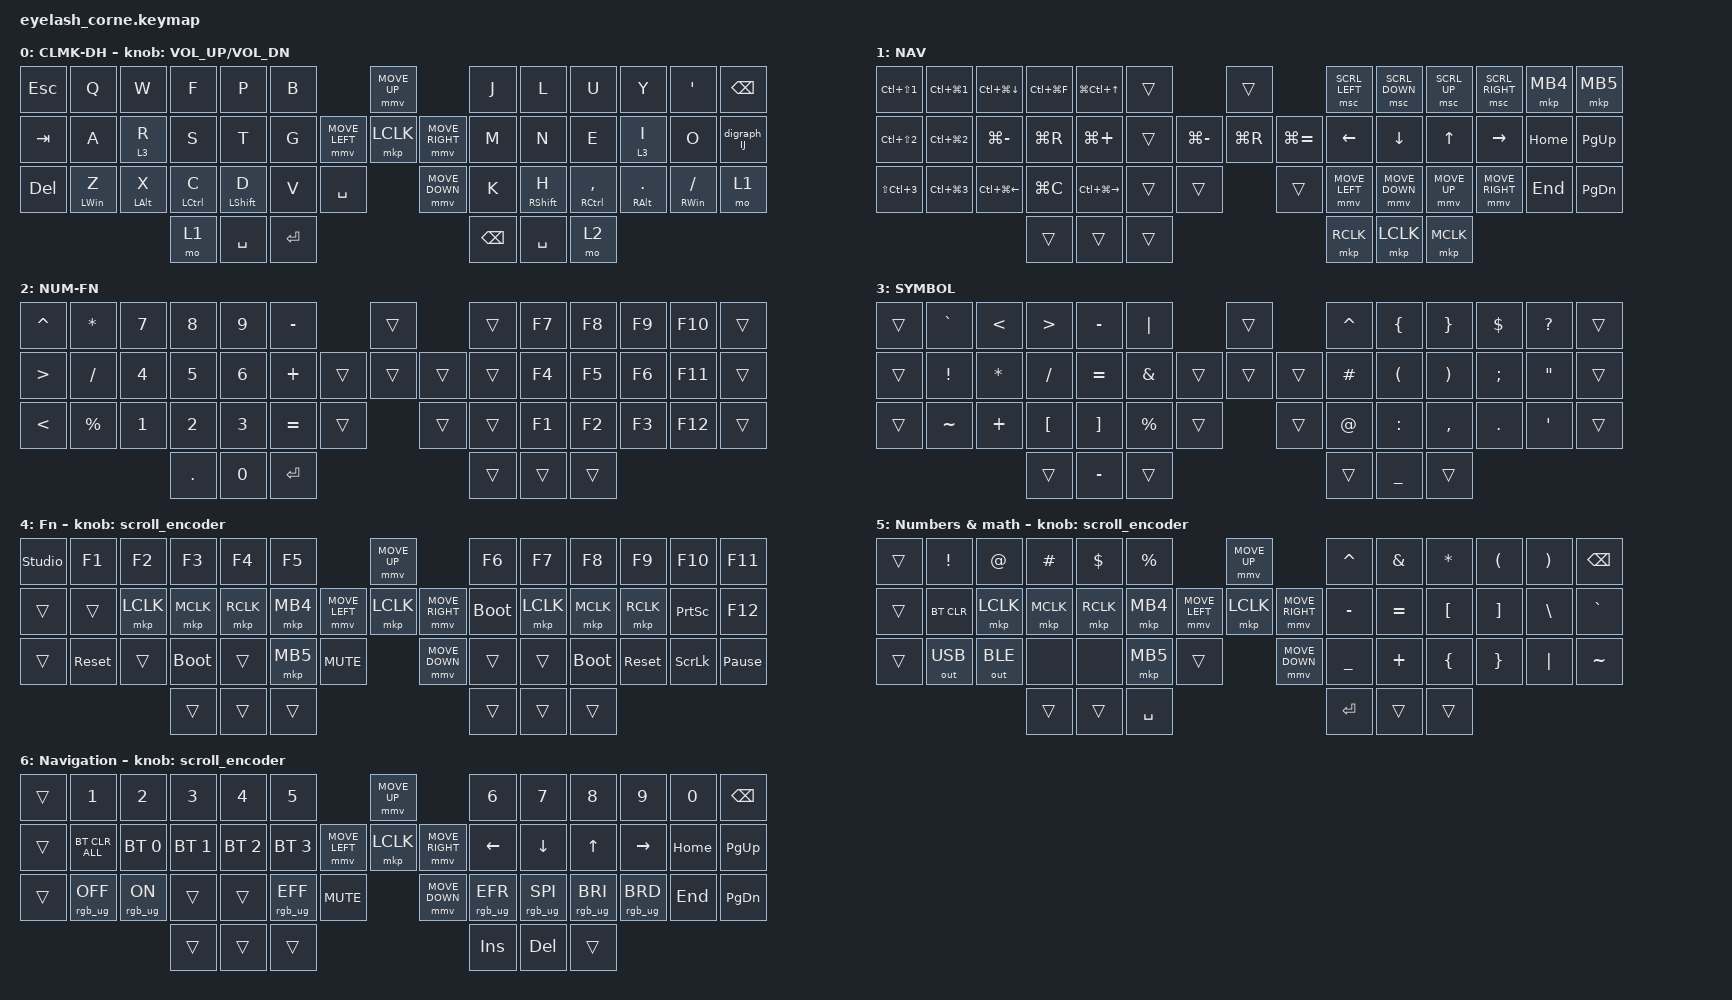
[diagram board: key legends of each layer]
#define ZMK_POINTING_DEFAULT_MOVE_VAL 1200  // 600
#define ZMK_POINTING_DEFAULT_SCRL_VAL 25   // 10

#include <input/processors.dtsi>
#include <zephyr/dt-bindings/input/input-event-codes.h>
#include <behaviors.dtsi>
#include <dt-bindings/zmk/bt.h>
#include <dt-bindings/zmk/keys.h>
#include <dt-bindings/zmk/outputs.h>
#include <dt-bindings/zmk/pointing.h>
#include <dt-bindings/zmk/rgb.h>

&mmv_input_listener { input-processors = <&zip_xy_scaler 2 1>; };

&msc_input_listener { input-processors = <&zip_scroll_scaler 2 1>; };

&msc {
    acceleration-exponent = <1>;      // 0
    time-to-max-speed-ms = <100>;       // 300
    delay-ms = <0>;                   // 0
};

&mmv {
    time-to-max-speed-ms = <500>;
    acceleration-exponent = <1>;
    trigger-period-ms = <16>;
};

&soft_off { hold-time-ms = <2000>; };

/ {
    behaviors {
        td0: td0 {
            compatible = "zmk,behavior-tap-dance";
            display-name = "Shift/Caps Lock Tap Dance";
            #binding-cells = <0>;
            bindings = <&kp LEFT_SHIFT>, <&kp CAPS>;
        };
    };

    rgb_encoder: rgb_encoder {
        compatible = "zmk,behavior-sensor-rotate";
        #sensor-binding-cells = <0>;
        bindings = <&rgb_ug RGB_BRI>, <&rgb_ug RGB_BRD>;
    };

    scroll_encoder: scroll_encoder {
        compatible = "zmk,behavior-sensor-rotate";
        #sensor-binding-cells = <0>;
        bindings = <&msc SCRL_DOWN>, <&msc SCRL_UP>;

        tap-ms = <100>;
    };

    combos {
        compatible = "zmk,combos";

        softoff {
            bindings = <&soft_off>;
            key-positions = <1 15 29>;
        };
    };

    macros {
        digraph_IJ: digraph_IJ {
            compatible = "zmk,behavior-macro";
            #binding-cells = <0>;
            bindings = <&kp I &kp J>;
            label = "DIGRAPH_IJ";
        };
    };

    keymap {
        compatible = "zmk,keymap";

        base {
            display-name = "CLMK-DH";
            bindings = <
&kp ESCAPE  &kp Q       &kp W           &kp F        &kp P             &kp B                                    &mmv MOVE_UP                     &kp J          &kp L        &kp U            &kp Y              &kp SINGLE_QUOTE  &kp BSPC
&kp TAB     &kp A       &lt 3 R         &kp S        &kp T             &kp G                    &mmv MOVE_LEFT  &mkp LCLK       &mmv MOVE_RIGHT  &kp M          &kp N        &kp E            &lt 3 I            &kp O             &digraph_IJ
&kp DEL     &mt LWIN Z  &mt LEFT_ALT X  &mt LCTRL C  &mt LEFT_SHIFT D  &kp V       &kp SPACE                    &mmv MOVE_DOWN                   &kp K          &mt RSHFT H  &mt RCTRL COMMA  &mt RIGHT_ALT DOT  &mt RWIN FSLH     &mo 1
                                        &mo 1        &kp SPACE         &kp RETURN                                                                &kp BACKSPACE  &kp SPACE    &mo 2
            >;

            sensor-bindings = <&inc_dec_kp C_VOLUME_UP C_VOL_DN>;
        };

        nav-niri {
            bindings = <
&kp LC(LS(NUMBER_1))  &kp LC(LG(NUMBER_1))  &kp LC(LG(DOWN))  &kp LC(LG(F))  &kp LG(LC(UP_ARROW))  &trans                           &trans                    &msc SCRL_LEFT  &msc SCRL_DOWN  &msc SCRL_UP  &msc SCRL_RIGHT  &mkp MB4  &mkp MB5
&kp LC(LS(NUMBER_2))  &kp LC(LG(NUMBER_2))  &kp LG(MINUS)     &kp LG(R)      &kp LG(PLUS)          &trans            &kp LG(MINUS)  &kp LG(R)  &kp LG(EQUAL)  &kp LEFT        &kp DOWN        &kp UP_ARROW  &kp RIGHT        &kp HOME  &kp PAGE_UP
&kp LS(LC(NUMBER_3))  &kp LC(LG(NUMBER_3))  &kp LC(LG(LEFT))  &kp LG(C)      &kp LC(LG(RIGHT))     &trans  &trans                   &trans                    &mmv MOVE_LEFT  &mmv MOVE_DOWN  &mmv MOVE_UP  &mmv MOVE_RIGHT  &kp END   &kp PAGE_DOWN
                                                              &trans         &trans                &trans                                                     &mkp RCLK       &mkp LCLK       &mkp MCLK
            >;

            label = "NAV";
        };

        num-fn {
            bindings = <
&kp CARET         &kp STAR     &kp N7        &kp N8        &kp N9        &kp MINUS                    &trans          &trans  &kp F7  &kp F8  &kp F9  &kp F10  &trans
&kp GREATER_THAN  &kp SLASH    &kp NUMBER_4  &kp N5        &kp N6        &kp PLUS             &trans  &trans  &trans  &trans  &kp F4  &kp F5  &kp F6  &kp F11  &trans
&kp LESS_THAN     &kp PERCENT  &kp NUMBER_1  &kp NUMBER_2  &kp NUMBER_3  &kp EQUAL  &trans            &trans          &trans  &kp F1  &kp F2  &kp F3  &kp F12  &trans
                                             &kp DOT       &kp N0        &kp ENTER                                    &trans  &trans  &trans
            >;

            label = "NUM-FN";
        };

        symb {
            bindings = <
&trans  &kp GRAVE  &kp LESS_THAN  &kp GREATER_THAN  &kp MINUS          &kp PIPE                         &trans          &kp CARET  &kp LEFT_BRACE        &kp RIGHT_BRACE        &kp DOLLAR  &kp QUESTION       &trans
&trans  &kp EXCL   &kp STAR       &kp SLASH         &kp EQUAL          &kp AMPERSAND            &trans  &trans  &trans  &kp HASH   &kp LEFT_PARENTHESIS  &kp RIGHT_PARENTHESIS  &kp SEMI    &kp DOUBLE_QUOTES  &trans
&trans  &kp TILDE  &kp PLUS       &kp LEFT_BRACKET  &kp RIGHT_BRACKET  &kp PERCENT    &trans            &trans          &kp AT     &kp COLON             &kp COMMA              &kp DOT     &kp SINGLE_QUOTE   &trans
                                  &trans            &kp MINUS          &trans                                           &trans     &kp UNDER             &trans
            >;

            label = "SYMBOL";
        };

        def_fn {
            display-name = "Fn";
            bindings = <
&studio_unlock  &kp F1      &kp F2     &kp F3       &kp F4     &kp F5                                  &mmv MOVE_UP                     &kp F6       &kp F7     &kp F8       &kp F9      &kp F10          &kp F11
&trans          &trans      &mkp LCLK  &mkp MCLK    &mkp RCLK  &mkp MB4                &mmv MOVE_LEFT  &mkp LCLK       &mmv MOVE_RIGHT  &bootloader  &mkp LCLK  &mkp MCLK    &mkp RCLK   &kp PRINTSCREEN  &kp F12
&trans          &sys_reset  &trans     &bootloader  &trans     &mkp MB5  &kp C_MUTE                    &mmv MOVE_DOWN                   &trans       &trans     &bootloader  &sys_reset  &kp SCROLLLOCK   &kp PAUSE_BREAK
                                       &trans       &trans     &trans                                                                   &trans       &trans     &trans
            >;

            sensor-bindings = <&scroll_encoder>;
        };

        def_symb_mouse {
            display-name = "Numbers & math";
            bindings = <
&trans  &kp EXCL      &kp AT        &kp HASH   &kp DLLR   &kp PRCNT                            &mmv MOVE_UP                     &kp CARET  &kp AMPS   &kp ASTRK  &kp LPAR  &kp RPAR  &kp BSPC
&trans  &bt BT_CLR    &mkp LCLK     &mkp MCLK  &mkp RCLK  &mkp MB4             &mmv MOVE_LEFT  &mkp LCLK       &mmv MOVE_RIGHT  &kp MINUS  &kp EQUAL  &kp LBKT   &kp RBKT  &kp BSLH  &kp GRAVE
&trans  &out OUT_USB  &out OUT_BLE  &none      &none      &mkp MB5   &trans                    &mmv MOVE_DOWN                   &kp UNDER  &kp PLUS   &kp LBRC   &kp RBRC  &kp PIPE  &kp TILDE
                                    &trans     &trans     &kp SPACE                                                             &kp RET    &trans     &trans
            >;

            sensor-bindings = <&scroll_encoder>;
        };

        def_num_nav {
            display-name = "Navigation";
            bindings = <
&trans  &kp N1           &kp N2          &kp N3        &kp N4        &kp N5                                         &mmv MOVE_UP                     &kp N6           &kp N7           &kp N8           &kp N9           &kp N0    &kp BSPC
&trans  &bt BT_CLR_ALL   &bt BT_SEL 0    &bt BT_SEL 1  &bt BT_SEL 2  &bt BT_SEL 3                   &mmv MOVE_LEFT  &mkp LCLK       &mmv MOVE_RIGHT  &kp LEFT         &kp DOWN         &kp UP           &kp RIGHT        &kp HOME  &kp PG_UP
&trans  &rgb_ug RGB_OFF  &rgb_ug RGB_ON  &trans        &trans        &rgb_ug RGB_EFF  &kp C_MUTE                    &mmv MOVE_DOWN                   &rgb_ug RGB_EFR  &rgb_ug RGB_SPI  &rgb_ug RGB_BRI  &rgb_ug RGB_BRD  &kp END   &kp PG_DN
                                         &trans        &trans        &trans                                                                          &kp INS          &kp DEL          &trans
            >;

            sensor-bindings = <&scroll_encoder>;
        };
    };
};
